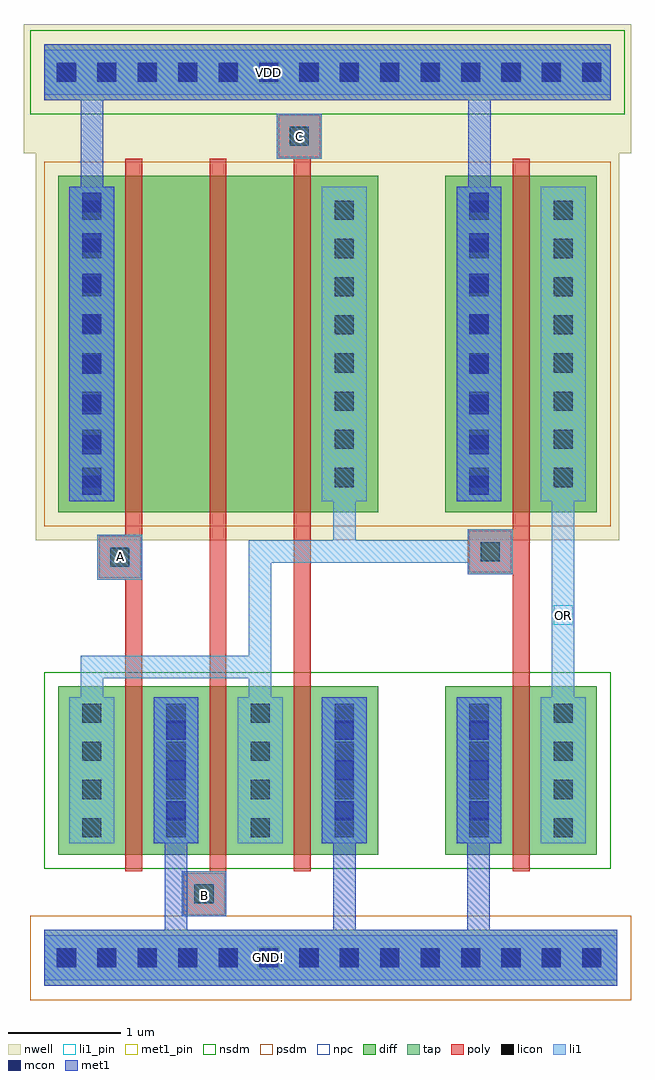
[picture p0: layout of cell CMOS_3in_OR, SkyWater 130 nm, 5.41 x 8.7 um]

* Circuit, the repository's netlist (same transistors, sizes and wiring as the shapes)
* NGSPICE file created from CMOS_3in_OR.ext - technology: sky130A

.subckt CMOS_3in_OR GND A B C OR VDD
X0 OR a_n1320_750# VDD VDD sky130_fd_pr__pfet_01v8 ad=1.8e+12p pd=7.2e+06u as=3.6e+12p ps=1.44e+07u w=3e+06u l=150000u
X1 GND C a_n1320_750# GND sky130_fd_pr__nfet_01v8 ad=2.7e+12p pd=1.26e+07u as=1.8e+12p ps=8.4e+06u w=1.5e+06u l=150000u
X2 GND A a_n1320_750# GND sky130_fd_pr__nfet_01v8 ad=0p pd=0u as=0p ps=0u w=1.5e+06u l=150000u
X3 OR a_n1320_750# GND GND sky130_fd_pr__nfet_01v8 ad=9e+11p pd=4.2e+06u as=0p ps=0u w=1.5e+06u l=150000u
X4 a_n1320_750# C a_n1020_1360# VDD sky130_fd_pr__pfet_01v8 ad=1.8e+12p pd=7.2e+06u as=1.8e+12p ps=7.2e+06u w=3e+06u l=150000u
X5 a_n1020_1360# B a_n1170_1360# VDD sky130_fd_pr__pfet_01v8 ad=0p pd=0u as=1.8e+12p ps=7.2e+06u w=3e+06u l=150000u
X6 a_n1320_750# B GND GND sky130_fd_pr__nfet_01v8 ad=0p pd=0u as=0p ps=0u w=1.5e+06u l=150000u
X7 a_n1170_1360# A VDD VDD sky130_fd_pr__pfet_01v8 ad=0p pd=0u as=0p ps=0u w=3e+06u l=150000u
.ends

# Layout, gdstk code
import gdstk
lib = gdstk.Library(unit=1e-6, precision=1e-09)
def R(c, l, rs):  # rectangles x0, y0, x1, y1
    for r in rs: c.add(gdstk.rectangle(r[:2], r[2:], *l))
def A(c, l, x, y, w, h, nx, ny, dx, dy):  # array of equal rectangles
    R(c, l, [(x+i*dx, y+j*dy, x+i*dx+w, y+j*dy+h) for i in range(nx) for j in range(ny)])
nwell = (64, 20)
diff = (65, 20)
tap = (65, 44)
poly = (66, 20)
licon = (66, 44)
li1_pin = (67, 16)
li1 = (67, 20)
mcon = (67, 44)
met1_pin = (68, 16)
met1 = (68, 20)
nsdm = (93, 44)
psdm = (94, 20)
npc = (95, 20)

cmos_3in_or = lib.new_cell('CMOS_3in_OR')
R(cmos_3in_or, nwell, [(-6.8,6.55,-1.6,10), (-6.905,10,-1.495,11.15)])
R(cmos_3in_or, diff, [(-6.6,3.75,-3.75,5.25), (-3.15,3.75,-1.8,5.25), (-6.6,6.8,-3.75,9.8), (-3.15,6.8,-1.8,9.8)])
R(cmos_3in_or, tap, [(-6.725,2.58,-1.62,3.08), (-6.725,10.47,-1.675,10.97)])
R(cmos_3in_or, poly, [(-5.5,3.2,-5.1,3.6), (-6,3.6,-5.85,6.2), (-5.25,3.6,-5.1,9.95), (-4.5,3.6,-4.35,9.95), (-2.55,3.6,-2.4,6.25), (-6.25,6.2,-5.85,6.6), (-2.95,6.25,-2.4,6.65), (-6,6.6,-5.85,9.95), (-2.55,6.65,-2.4,9.95), (-4.65,9.95,-4.25,10.35)])
A(cmos_3in_or, licon, -6.61, 2.745, 0.17, 0.17, 6, 2, 0.36, 7.89)
A(cmos_3in_or, licon, -4.81, 2.745, 0.17, 0.17, 9, 2, 0.36, 7.89)
A(cmos_3in_or, licon, -6.385, 3.905, 0.17, 0.17, 4, 4, 0.75, 0.34)
A(cmos_3in_or, licon, -2.935, 3.905, 0.17, 0.17, 1, 4, 0, 0.34)
A(cmos_3in_or, licon, -2.185, 3.905, 0.17, 0.17, 1, 4, 0, 0.34)
A(cmos_3in_or, licon, -6.385, 7.025, 0.17, 0.17, 1, 8, 0, 0.34)
A(cmos_3in_or, licon, -4.135, 7.025, 0.17, 0.17, 1, 8, 0, 0.34)
A(cmos_3in_or, licon, -2.935, 7.025, 0.17, 0.17, 1, 8, 0, 0.34)
A(cmos_3in_or, licon, -2.185, 7.025, 0.17, 0.17, 1, 8, 0, 0.34)
R(cmos_3in_or, licon, [(-4.81,2.745,-4.64,2.915), (-5.385,3.315,-5.215,3.485), (-6.135,6.315,-5.965,6.485), (-2.835,6.365,-2.665,6.535), (-4.535,10.065,-4.365,10.235), (-4.81,10.635,-4.64,10.805)])
R(cmos_3in_or, li1_pin, [(-5.385,3.315,-5.215,3.485), (-2.185,5.8,-2.015,5.97), (-6.135,6.315,-5.965,6.485), (-4.535,10.065,-4.365,10.235)])
A(cmos_3in_or, li1, -6.5, 3.85, 0.4, 1.3, 4, 1, 0.75, 0)
R(cmos_3in_or, li1, [(-6.725,2.63,-1.62,3.03), (-5.5,3.2,-5.1,3.6), (-3.05,3.85,-2.65,5.15), (-2.3,3.85,-1.9,5.15), (-4.9,5.145,-4.7,6.35), (-2.2,5.145,-2,6.9), (-6.4,5.15,-6.2,5.35), (-6.4,5.32,-4.7,5.52), (-6.25,6.2,-5.85,6.6), (-2.95,6.25,-2.55,6.35), (-4.9,6.35,-2.55,6.55), (-4.15,6.55,-3.95,6.9), (-2.95,6.55,-2.55,6.65), (-6.5,6.9,-6.1,9.7), (-4.25,6.9,-3.85,9.7), (-3.05,6.9,-2.65,9.7), (-2.3,6.9,-1.9,9.7), (-4.65,9.95,-4.25,10.35), (-6.725,10.52,-1.675,10.92)])
A(cmos_3in_or, mcon, -6.61, 2.745, 0.17, 0.17, 6, 2, 0.36, 7.89)
A(cmos_3in_or, mcon, -4.81, 2.745, 0.17, 0.17, 9, 2, 0.36, 7.89)
A(cmos_3in_or, mcon, -5.635, 4.055, 0.17, 0.17, 1, 3, 0, 0.36)
A(cmos_3in_or, mcon, -4.135, 4.055, 0.17, 0.17, 1, 3, 0, 0.36)
A(cmos_3in_or, mcon, -2.935, 4.055, 0.17, 0.17, 1, 3, 0, 0.36)
A(cmos_3in_or, mcon, -6.385, 6.955, 0.17, 0.17, 1, 8, 0, 0.36)
A(cmos_3in_or, mcon, -2.935, 6.955, 0.17, 0.17, 1, 8, 0, 0.36)
R(cmos_3in_or, mcon, [(-4.81,2.745,-4.64,2.915), (-4.81,10.635,-4.64,10.805)])
R(cmos_3in_or, met1_pin, [(-4.825,2.73,-4.625,2.93), (-4.825,10.62,-4.625,10.82)])
R(cmos_3in_or, met1, [(-6.725,2.58,-1.62,3.08), (-5.75,3.85,-5.35,5.15), (-4.25,3.85,-3.85,5.15), (-3.05,3.85,-2.65,5.15), (-6.5,6.9,-6.1,9.7), (-3.05,6.9,-2.65,9.7), (-6.725,10.47,-1.675,10.97)])
R(cmos_3in_or, nsdm, [(-6.725,3.625,-1.675,5.375), (-6.85,10.345,-1.55,11.095)])
R(cmos_3in_or, psdm, [(-6.85,2.455,-1.495,3.205), (-6.725,6.675,-1.675,9.925)])
R(cmos_3in_or, npc, [(-5.485,3.215,-5.115,3.585), (-6.235,6.215,-5.865,6.585), (-2.935,6.265,-2.565,6.635), (-4.635,9.965,-4.265,10.335)])
cmos_3in_or.add(gdstk.FlexPath([(-6.3,9.7),(-6.3,10.47)], 0.2, ends="flush", simple_path=True, layer=68, datatype=20))  # met1
cmos_3in_or.add(gdstk.FlexPath([(-2.845,9.7),(-2.845,10.47)], 0.2, ends="flush", simple_path=True, layer=68, datatype=20))  # met1
cmos_3in_or.add(gdstk.FlexPath([(-5.55,3.85),(-5.55,3.08)], 0.2, ends="flush", simple_path=True, layer=68, datatype=20))  # met1
cmos_3in_or.add(gdstk.FlexPath([(-4.05,3.85),(-4.05,3.08)], 0.2, ends="flush", simple_path=True, layer=68, datatype=20))  # met1
cmos_3in_or.add(gdstk.FlexPath([(-2.855,3.85),(-2.855,2.73)], 0.2, ends="flush", simple_path=True, layer=68, datatype=20))  # met1
cmos_3in_or.add(gdstk.Label('GND!', (-4.725,2.83), layer=68, texttype=16))
cmos_3in_or.add(gdstk.Label('VDD', (-4.725,10.72), layer=68, texttype=16))
cmos_3in_or.add(gdstk.Label('A', (-6.04,6.41), layer=67, texttype=16))
cmos_3in_or.add(gdstk.Label('B', (-5.3,3.39), layer=67, texttype=16))
cmos_3in_or.add(gdstk.Label('C', (-4.45,10.15), layer=67, texttype=16))
cmos_3in_or.add(gdstk.Label('OR', (-2.1,5.88), layer=67, texttype=16))

lib.write_gds('CMOS_3in_OR.gds')
